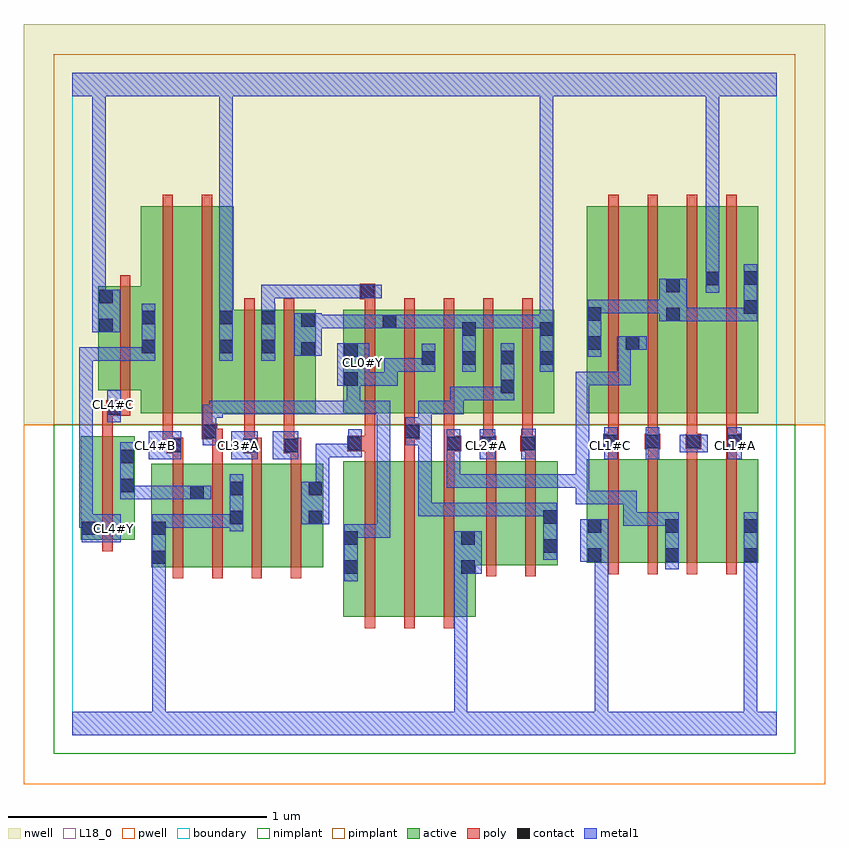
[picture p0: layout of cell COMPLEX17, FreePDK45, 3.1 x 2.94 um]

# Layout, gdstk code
import gdstk
lib = gdstk.Library(unit=1e-6, precision=1e-09)
def R(c, l, rs):  # rectangles x0, y0, x1, y1
    for r in rs: c.add(gdstk.rectangle(r[:2], r[2:], *l))
def A(c, l, x, y, w, h, nx, ny, dx, dy):  # array of equal rectangles
    R(c, l, [(x+i*dx, y+j*dy, x+i*dx+w, y+j*dy+h) for i in range(nx) for j in range(ny)])
active = (1, 0)
pwell = (2, 0)
nwell = (3, 0)
nimplant = (4, 0)
pimplant = (5, 0)
poly = (9, 0)
contact = (10, 0)
metal1 = (11, 0)
L18_0 = (18, 0)
boundary = (235, 0)

complex17 = lib.new_cell('COMPLEX17')
R(complex17, active, [(1.046,0.458,1.106,1.058), (1.046,0.458,1.226,1.058), (1.226,0.458,1.378,1.058), (1.378,0.458,1.558,1.058), (1.498,0.458,1.558,1.058), (0.304,0.65,0.364,1.05), (0.304,0.65,0.512,1.05), (0.452,0.65,0.664,1.05), (0.452,0.65,0.512,0.968), (0.604,0.65,0.788,1.05), (0.788,0.65,0.968,1.05), (0.908,0.65,0.968,1.05), (1.498,0.658,1.694,1.058), (1.694,0.658,1.874,1.058), (1.814,0.658,1.874,1.058), (1.986,0.666,2.046,1.066), (1.986,0.666,2.166,1.066), (2.166,0.666,2.346,1.066), (2.286,0.666,2.346,1.066), (2.286,0.666,2.47,1.066), (2.47,0.666,2.65,1.066), (2.59,0.666,2.65,1.066), (0.032,0.756,0.092,1.156), (0.032,0.756,0.24,1.156), (0.18,0.756,0.24,1.156), (0.604,0.756,0.664,0.984), (0.264,1.244,0.444,2.044), (0.444,1.244,0.624,2.044), (0.564,1.244,0.624,2.044), (0.564,1.244,0.788,1.644), (0.728,1.244,0.788,1.644), (0.728,1.244,0.94,1.644), (0.88,1.244,0.94,1.644), (1.046,1.244,1.106,1.644), (1.046,1.244,1.254,1.644), (1.194,1.244,1.254,1.644), (1.194,1.244,1.406,1.644), (1.346,1.244,1.406,1.644), (1.346,1.244,1.562,1.644), (1.502,1.244,1.562,1.644), (1.502,1.244,1.71,1.644), (1.65,1.244,1.71,1.644), (1.65,1.244,1.862,1.644), (1.802,1.244,1.862,1.644), (1.986,1.244,2.046,2.044), (1.986,1.244,2.194,2.044), (2.134,1.244,2.194,2.044), (2.134,1.244,2.35,2.044), (2.29,1.244,2.35,2.044), (2.29,1.244,2.502,2.044), (2.442,1.244,2.502,2.044), (2.442,1.244,2.65,2.044), (2.59,1.244,2.65,2.044), (0.1,1.334,0.16,1.734), (0.1,1.334,0.324,1.734), (0.264,1.334,0.324,1.808)])
R(complex17, pwell, [(-0.188,-0.188,2.908,1.2)])
R(complex17, nwell, [(-0.188,1.2,2.908,2.748)])
R(complex17, nimplant, [(-0.072,-0.072,2.792,1.2)])
R(complex17, pimplant, [(-0.072,1.2,2.792,2.632)])
A(complex17, poly, 1.13, 0.414, 0.04, 0.688, 3, 1, 0.152, 0)
A(complex17, poly, 0.388, 0.606, 0.04, 0.488, 4, 1, 0.152, 0)
A(complex17, poly, 2.07, 0.622, 0.04, 0.488, 4, 1, 0.152, 0)
A(complex17, poly, 2.07, 1.07, 0.04, 0.076, 4, 1, 0.152, 0)
A(complex17, poly, 2.05, 1.106, 0.06, 0.06, 3, 1, 0.16, 0)
A(complex17, poly, 1.434, 1.118, 0.04, 0.122, 3, 1, 0.152, 0)
A(complex17, poly, 2.07, 1.126, 0.04, 0.114, 4, 1, 0.152, 0)
A(complex17, poly, 1.13, 1.2, 0.04, 0.488, 5, 1, 0.152, 0)
A(complex17, poly, 2.07, 1.2, 0.04, 0.888, 4, 1, 0.152, 0)
R(complex17, poly, [(1.598,0.614,1.638,1.102), (1.75,0.614,1.79,1.102), (0.116,0.712,0.156,1.2), (0.388,1.054,0.428,1.13), (0.54,1.054,0.58,1.184), (0.692,1.054,0.732,1.13), (0.844,1.054,0.884,1.13), (1.13,1.062,1.17,1.138), (1.282,1.062,1.322,1.184), (1.434,1.062,1.474,1.138), (1.598,1.062,1.638,1.138), (1.75,1.062,1.79,1.138), (0.364,1.09,0.428,1.15), (0.66,1.09,0.732,1.15), (0.816,1.09,0.884,1.15), (1.062,1.098,1.17,1.158), (1.434,1.098,1.502,1.158), (1.578,1.098,1.638,1.158), (1.598,1.098,1.638,1.138), (1.598,1.098,1.638,1.138), (1.73,1.098,1.79,1.158), (1.75,1.098,1.79,1.138), (1.75,1.098,1.79,1.138), (2.222,1.106,2.262,1.146), (2.222,1.106,2.262,1.146), (2.526,1.106,2.586,1.166), (0.348,1.11,0.388,1.24), (0.348,1.11,0.404,1.15), (0.364,1.11,0.404,1.15), (0.664,1.11,0.704,1.15), (0.664,1.11,0.704,1.15), (0.664,1.11,0.704,1.24), (0.816,1.11,0.856,1.15), (0.816,1.11,0.856,1.15), (0.816,1.11,0.856,1.24), (1.13,1.118,1.17,1.158), (1.13,1.118,1.17,1.158), (1.13,1.118,1.17,1.24), (1.434,1.118,1.474,1.158), (1.434,1.118,1.474,1.158), (2.07,1.126,2.11,1.166), (2.07,1.126,2.11,1.166), (2.374,1.126,2.414,1.166), (2.374,1.126,2.414,1.166), (2.526,1.126,2.566,1.166), (2.526,1.126,2.566,1.166), (0.5,1.144,0.56,1.204), (0.52,1.144,0.56,1.184), (0.52,1.144,0.58,1.184), (1.282,1.144,1.322,1.184), (1.282,1.144,1.322,1.184), (1.282,1.144,1.342,1.204), (0.116,1.16,0.156,1.274), (0.5,1.164,0.54,1.24), (1.282,1.164,1.322,1.24), (0.348,1.2,0.388,2.088), (0.5,1.2,0.54,2.088), (0.664,1.2,0.704,1.688), (0.816,1.2,0.856,1.688), (0.116,1.234,0.17,1.274), (0.13,1.234,0.17,1.274), (0.13,1.234,0.224,1.294), (0.184,1.254,0.224,1.33), (0.184,1.29,0.224,1.778), (1.13,1.648,1.17,1.724), (1.11,1.684,1.17,1.744)])
A(complex17, contact, 2.054, 1.11, 0.052, 0.052, 3, 1, 0.16, 0)
R(complex17, contact, [(1.05,0.624,1.102,0.676), (1.502,0.624,1.554,0.676), (0.308,0.662,0.36,0.714), (1.99,0.67,2.042,0.722), (2.29,0.67,2.342,0.722), (2.594,0.67,2.646,0.722), (1.818,0.706,1.87,0.758), (1.05,0.736,1.102,0.788), (1.502,0.736,1.554,0.788), (0.036,0.774,0.088,0.826), (0.308,0.774,0.36,0.826), (1.99,0.782,2.042,0.834), (2.29,0.782,2.342,0.834), (2.594,0.782,2.646,0.834), (0.608,0.816,0.66,0.868), (0.912,0.816,0.964,0.868), (1.818,0.818,1.87,0.87), (0.456,0.912,0.508,0.964), (0.608,0.928,0.66,0.98), (0.912,0.928,0.964,0.98), (0.184,0.94,0.236,0.992), (0.184,1.052,0.236,1.104), (0.368,1.094,0.42,1.146), (0.664,1.094,0.716,1.146), (0.82,1.094,0.872,1.146), (1.066,1.102,1.118,1.154), (1.446,1.102,1.498,1.154), (1.582,1.102,1.634,1.154), (1.734,1.102,1.786,1.154), (2.53,1.11,2.582,1.162), (0.504,1.148,0.556,1.2), (1.286,1.148,1.338,1.2), (0.134,1.238,0.186,1.29), (1.654,1.322,1.706,1.374), (1.05,1.35,1.102,1.402), (1.35,1.432,1.402,1.484), (1.506,1.432,1.558,1.484), (1.806,1.432,1.858,1.484), (1.654,1.434,1.706,1.486), (1.05,1.462,1.102,1.514), (0.884,1.466,0.936,1.518), (0.268,1.476,0.32,1.528), (0.568,1.476,0.62,1.528), (0.732,1.476,0.784,1.528), (1.99,1.49,2.042,1.542), (2.138,1.49,2.19,1.542), (1.506,1.544,1.558,1.596), (1.806,1.544,1.858,1.596), (0.104,1.558,0.156,1.61), (1.198,1.572,1.25,1.624), (0.884,1.578,0.936,1.63), (0.268,1.588,0.32,1.64), (0.568,1.588,0.62,1.64), (0.732,1.588,0.784,1.64), (2.294,1.6,2.346,1.652), (1.99,1.602,2.042,1.654), (2.594,1.628,2.646,1.68), (0.104,1.67,0.156,1.722), (1.114,1.688,1.166,1.74), (2.294,1.712,2.346,1.764), (2.446,1.738,2.498,1.79), (2.594,1.74,2.646,1.792)])
A(complex17, metal1, 0.73, 1.688, 0.052, 0.052, 3, 1, 0.11, 0)
R(complex17, metal1, [(0,0,2.72,0.092), (0.308,0.04,0.36,0.092), (0.308,0.04,0.36,0.092), (0.308,0.04,0.36,0.092), (0.308,0.04,0.36,0.092), (0.308,0.04,0.36,0.092), (0.308,0.04,0.36,0.092), (0.308,0.04,0.36,0.092), (0.308,0.04,0.36,0.092), (0.308,0.04,0.36,0.092), (0.308,0.04,0.36,0.092), (0.308,0.04,0.36,0.092), (0.308,0.04,0.36,0.092), (0.308,0.04,0.36,0.686), (1.474,0.04,1.526,0.092), (1.474,0.04,1.526,0.092), (1.474,0.04,1.526,0.676), (2.018,0.04,2.07,0.092), (2.018,0.04,2.07,0.092), (2.018,0.04,2.07,0.722), (2.594,0.04,2.646,0.092), (2.594,0.04,2.646,0.092), (2.594,0.04,2.646,0.092), (2.594,0.04,2.646,0.092), (2.594,0.04,2.646,0.092), (2.594,0.04,2.646,0.092), (2.594,0.04,2.646,0.694), (1.05,0.596,1.102,0.816), (1.474,0.624,1.526,0.676), (1.474,0.624,1.526,0.676), (1.474,0.624,1.526,0.676), (1.474,0.624,1.526,0.676), (1.474,0.624,1.526,0.676), (1.474,0.624,1.526,0.676), (1.474,0.624,1.582,0.788), (0.308,0.634,0.36,0.854), (2.29,0.642,2.342,0.862), (2.594,0.642,2.646,0.694), (2.594,0.642,2.646,0.694), (2.594,0.642,2.646,0.694), (2.594,0.642,2.646,0.694), (2.594,0.642,2.646,0.694), (2.594,0.642,2.646,0.694), (2.594,0.642,2.646,0.862), (1.962,0.67,2.07,0.834), (2.018,0.67,2.07,0.722), (2.018,0.67,2.07,0.722), (2.018,0.67,2.07,0.722), (2.018,0.67,2.07,0.722), (2.018,0.67,2.07,0.722), (2.018,0.67,2.07,0.722), (2.018,0.67,2.07,0.722), (2.018,0.67,2.07,0.722), (2.018,0.67,2.07,0.722), (2.018,0.67,2.07,0.722), (1.818,0.678,1.87,0.898), (0.036,0.746,0.186,0.854), (1.05,0.764,1.112,0.816), (1.06,0.764,1.112,0.816), (1.06,0.764,1.228,0.816), (1.176,0.764,1.228,0.816), (1.176,0.764,1.228,0.816), (1.176,0.764,1.228,0.816), (1.176,0.764,1.228,1.292), (0.608,0.788,0.66,1.008), (0.026,0.802,0.078,0.854), (0.026,0.802,0.078,0.854), (0.026,0.802,0.078,0.854), (0.026,0.802,0.078,0.854), (0.026,0.802,0.088,0.854), (0.026,0.802,0.078,0.872), (0.036,0.802,0.088,0.854), (0.308,0.802,0.36,0.854), (0.308,0.802,0.36,0.854), (0.308,0.802,0.47,0.854), (0.418,0.802,0.47,0.854), (0.418,0.802,0.47,0.854), (0.418,0.802,0.47,0.854), (0.418,0.802,0.66,0.854), (2.128,0.81,2.342,0.862), (2.128,0.81,2.18,0.944), (0.884,0.816,0.992,0.98), (0.026,0.82,0.078,0.872), (0.026,0.82,0.078,0.872), (0.026,0.82,0.078,0.872), (0.026,0.82,0.078,1.5), (1.336,0.846,1.388,0.898), (1.336,0.846,1.388,0.898), (1.336,0.846,1.388,0.898), (1.336,0.846,1.516,0.898), (1.336,0.846,1.388,1.228), (1.464,0.846,1.516,0.898), (1.464,0.846,1.516,0.898), (1.464,0.846,1.516,0.898), (1.464,0.846,1.676,0.898), (1.624,0.846,1.676,0.898), (1.624,0.846,1.676,0.898), (1.624,0.846,1.676,0.898), (1.624,0.846,1.87,0.898), (1.818,0.846,1.87,0.898), (1.818,0.846,1.87,0.898), (1.944,0.892,1.996,0.944), (1.944,0.892,2.038,0.944), (1.944,0.892,1.996,1.008), (1.986,0.892,2.038,0.944), (1.986,0.892,2.18,0.944), (2.128,0.892,2.18,0.944), (2.128,0.892,2.18,0.944), (0.184,0.912,0.236,1.132), (0.184,0.912,0.36,0.964), (0.308,0.912,0.36,0.964), (0.308,0.912,0.36,0.964), (0.308,0.912,0.36,0.964), (0.308,0.912,0.48,0.964), (0.428,0.912,0.536,0.964), (0.94,0.928,0.992,1.126), (1.446,0.956,1.676,1.008), (1.446,0.956,1.498,1.126), (1.624,0.956,1.676,1.008), (1.624,0.956,1.676,1.008), (1.624,0.956,1.676,1.008), (1.624,0.956,1.786,1.008), (1.734,0.956,1.786,1.008), (1.734,0.956,1.786,1.008), (1.734,0.956,1.786,1.008), (1.734,0.956,1.996,1.008), (1.944,0.956,1.996,1.008), (1.944,0.956,1.996,1.404), (0.294,1.066,0.42,1.174), (0.614,1.066,0.716,1.174), (0.774,1.066,0.872,1.174), (1.574,1.066,1.634,1.182), (1.734,1.066,1.79,1.184), (2.054,1.066,2.106,1.19), (2.214,1.066,2.266,1.19), (2.53,1.066,2.586,1.19), (0.94,1.074,0.992,1.126), (0.94,1.074,1.002,1.126), (0.95,1.074,1.002,1.126), (0.95,1.074,1.118,1.126), (1.066,1.074,1.118,1.182), (1.446,1.074,1.498,1.126), (1.446,1.074,1.498,1.182), (2.346,1.094,2.454,1.162), (0.504,1.12,0.556,1.278), (1.286,1.12,1.338,1.228), (1.286,1.176,1.388,1.228), (1.336,1.176,1.388,1.292), (0.134,1.21,0.186,1.334), (0.504,1.226,0.58,1.278), (0.528,1.226,0.58,1.292), (0.528,1.24,0.716,1.292), (0.664,1.24,0.716,1.292), (0.664,1.24,0.716,1.292), (0.664,1.24,0.716,1.292), (0.664,1.24,0.892,1.292), (0.84,1.24,0.892,1.292), (0.84,1.24,0.892,1.292), (0.84,1.24,0.892,1.292), (0.84,1.24,1.112,1.292), (1.06,1.24,1.112,1.292), (1.06,1.24,1.112,1.292), (1.06,1.24,1.112,1.292), (1.06,1.24,1.228,1.292), (1.06,1.24,1.112,1.402), (1.176,1.24,1.228,1.292), (1.336,1.24,1.512,1.292), (1.46,1.24,1.512,1.292), (1.46,1.24,1.512,1.292), (1.46,1.24,1.512,1.292), (1.46,1.24,1.512,1.346), (1.46,1.294,1.512,1.346), (1.46,1.294,1.676,1.346), (1.624,1.294,1.676,1.346), (1.624,1.294,1.706,1.346), (1.654,1.294,1.706,1.514), (1.022,1.35,1.146,1.514), (1.06,1.35,1.112,1.402), (1.06,1.35,1.112,1.402), (1.06,1.35,1.112,1.402), (1.06,1.35,1.112,1.402), (1.06,1.35,1.256,1.402), (1.204,1.35,1.256,1.402), (1.204,1.35,1.256,1.402), (1.204,1.35,1.256,1.456), (1.944,1.352,1.996,1.404), (1.944,1.352,1.996,1.404), (1.944,1.352,1.996,1.404), (1.944,1.352,2.156,1.404), (2.104,1.352,2.156,1.404), (2.104,1.352,2.156,1.542), (1.204,1.404,1.402,1.456), (1.35,1.404,1.402,1.512), (1.506,1.404,1.558,1.624), (1.806,1.404,1.858,1.624), (0.026,1.448,0.078,1.5), (0.026,1.448,0.078,1.5), (0.026,1.448,0.078,1.5), (0.026,1.448,0.32,1.5), (0.268,1.448,0.32,1.668), (0.568,1.448,0.62,1.668), (0.73,1.448,0.784,1.668), (1.99,1.462,2.042,1.682), (0.856,1.466,0.964,1.63), (2.104,1.49,2.218,1.542), (0.076,1.558,0.184,1.722), (0.912,1.572,1.064,1.624), (1.012,1.572,1.064,1.624), (1.012,1.572,1.112,1.624), (1.06,1.572,1.112,1.624), (1.06,1.572,1.222,1.624), (1.17,1.572,1.278,1.624), (1.226,1.572,1.388,1.624), (1.336,1.572,1.388,1.624), (1.336,1.572,1.388,1.624), (1.336,1.572,1.388,1.624), (1.336,1.572,1.516,1.624), (1.464,1.572,1.516,1.624), (1.464,1.572,1.558,1.624), (1.506,1.572,1.668,1.624), (1.616,1.572,1.668,1.624), (1.616,1.572,1.668,1.624), (1.616,1.572,1.668,1.624), (1.616,1.572,1.858,1.624), (1.806,1.572,1.858,1.624), (1.806,1.572,1.858,1.624), (1.806,1.572,1.858,1.624), (1.806,1.572,1.858,1.624), (1.806,1.572,1.858,1.624), (1.806,1.572,1.858,1.624), (1.806,1.572,1.858,1.624), (1.806,1.572,1.858,1.624), (1.806,1.572,1.858,2.52), (2.266,1.6,2.374,1.764), (2.322,1.6,2.374,1.652), (2.322,1.6,2.374,1.652), (2.322,1.6,2.536,1.652), (2.484,1.6,2.536,1.652), (2.484,1.6,2.646,1.652), (2.594,1.6,2.646,1.652), (2.594,1.6,2.646,1.652), (2.594,1.6,2.646,1.82), (0.568,1.616,0.62,1.668), (0.568,1.616,0.62,1.668), (0.568,1.616,0.62,2.52), (0.73,1.616,0.782,1.74), (1.99,1.63,2.042,1.682), (1.99,1.63,2.042,1.682), (1.99,1.63,2.152,1.682), (2.1,1.63,2.152,1.682), (2.1,1.63,2.152,1.682), (2.1,1.63,2.152,1.682), (2.1,1.63,2.318,1.682), (0.076,1.67,0.128,1.722), (0.076,1.67,0.128,1.722), (0.076,1.67,0.128,1.722), (0.076,1.67,0.128,1.722), (0.076,1.67,0.128,1.722), (0.076,1.67,0.128,1.722), (0.076,1.67,0.128,2.52), (0.73,1.688,0.892,1.74), (0.84,1.688,1.002,1.74), (0.95,1.688,1.002,1.74), (0.95,1.688,1.002,1.74), (0.95,1.688,1.138,1.74), (1.086,1.688,1.194,1.74), (2.446,1.71,2.498,1.818), (2.446,1.766,2.498,2.52), (0,2.468,2.72,2.56), (0.076,2.468,0.128,2.52), (0.076,2.468,0.128,2.52), (0.076,2.468,0.128,2.52), (0.076,2.468,0.128,2.52), (0.076,2.468,0.128,2.52), (0.076,2.468,0.128,2.52), (0.076,2.468,0.128,2.52), (0.076,2.468,0.128,2.52), (0.076,2.468,0.128,2.52), (0.076,2.468,0.128,2.52), (0.568,2.468,0.62,2.52), (0.568,2.468,0.62,2.52), (0.568,2.468,0.62,2.52), (0.568,2.468,0.62,2.52), (0.568,2.468,0.62,2.52), (0.568,2.468,0.62,2.52), (1.806,2.468,1.858,2.52), (1.806,2.468,1.858,2.52), (1.806,2.468,1.858,2.52), (1.806,2.468,1.858,2.52), (1.806,2.468,1.858,2.52), (1.806,2.468,1.858,2.52), (1.806,2.468,1.858,2.52), (1.806,2.468,1.858,2.52), (1.806,2.468,1.858,2.52), (1.806,2.468,1.858,2.52), (2.446,2.468,2.498,2.52), (2.446,2.468,2.498,2.52), (2.446,2.468,2.498,2.52), (2.446,2.468,2.498,2.52), (2.446,2.468,2.498,2.52), (2.446,2.468,2.498,2.52), (2.446,2.468,2.498,2.52), (2.446,2.468,2.498,2.52)])
A(complex17, L18_0, 2.054, 1.094, 0.052, 0.052, 4, 1, 0.16, 0)
R(complex17, L18_0, [(0,0,2.72,0.092), (0.308,0.04,0.36,0.092), (0.308,0.04,0.36,0.092), (0.308,0.04,0.36,0.092), (0.308,0.04,0.36,0.092), (0.308,0.04,0.36,0.092), (0.308,0.04,0.36,0.092), (0.308,0.04,0.36,0.092), (0.308,0.04,0.36,0.092), (0.308,0.04,0.36,0.092), (0.308,0.04,0.36,0.092), (0.308,0.04,0.36,0.092), (0.308,0.04,0.36,0.092), (0.308,0.04,0.36,0.686), (1.474,0.04,1.526,0.092), (1.474,0.04,1.526,0.092), (1.474,0.04,1.526,0.676), (2.018,0.04,2.07,0.092), (2.018,0.04,2.07,0.092), (2.018,0.04,2.07,0.722), (2.594,0.04,2.646,0.092), (2.594,0.04,2.646,0.092), (2.594,0.04,2.646,0.092), (2.594,0.04,2.646,0.092), (2.594,0.04,2.646,0.092), (2.594,0.04,2.646,0.092), (2.594,0.04,2.646,0.694), (1.05,0.596,1.102,0.816), (1.474,0.624,1.526,0.676), (1.474,0.624,1.526,0.676), (1.474,0.624,1.526,0.676), (1.474,0.624,1.526,0.676), (1.474,0.624,1.526,0.676), (1.474,0.624,1.526,0.676), (1.474,0.624,1.582,0.788), (0.308,0.634,0.36,0.854), (2.594,0.642,2.646,0.694), (2.594,0.642,2.646,0.694), (2.594,0.642,2.646,0.694), (2.594,0.642,2.646,0.694), (2.594,0.642,2.646,0.694), (2.594,0.642,2.646,0.694), (2.594,0.642,2.646,0.862), (1.962,0.67,2.07,0.834), (2.018,0.67,2.07,0.722), (2.018,0.67,2.07,0.722), (2.018,0.67,2.07,0.722), (2.018,0.67,2.07,0.722), (2.018,0.67,2.07,0.722), (2.018,0.67,2.07,0.722), (2.018,0.67,2.07,0.722), (2.018,0.67,2.07,0.722), (2.018,0.67,2.07,0.722), (2.018,0.67,2.07,0.722), (0.036,0.746,0.186,0.854), (1.05,0.764,1.112,0.816), (1.06,0.764,1.112,0.816), (1.06,0.764,1.228,0.816), (1.176,0.764,1.228,0.816), (1.176,0.764,1.228,0.816), (1.176,0.764,1.228,0.816), (1.176,0.764,1.228,1.292), (0.134,0.774,0.186,0.826), (0.608,0.788,0.66,1.008), (0.026,0.802,0.088,0.854), (0.026,0.802,0.078,0.854), (0.026,0.802,0.078,0.854), (0.026,0.802,0.078,0.854), (0.026,0.802,0.078,0.854), (0.026,0.802,0.078,0.872), (0.036,0.802,0.088,0.854), (0.308,0.802,0.36,0.854), (0.308,0.802,0.36,0.854), (0.308,0.802,0.47,0.854), (0.418,0.802,0.47,0.854), (0.418,0.802,0.47,0.854), (0.418,0.802,0.47,0.854), (0.418,0.802,0.66,0.854), (0.026,0.82,0.078,0.872), (0.026,0.82,0.078,0.872), (0.026,0.82,0.078,0.872), (0.026,0.82,0.078,1.5), (0.294,1.066,0.42,1.174), (0.614,1.066,0.716,1.174), (0.774,1.066,0.872,1.174), (1.574,1.066,1.634,1.182), (1.734,1.066,1.79,1.184), (2.054,1.066,2.106,1.19), (2.214,1.066,2.266,1.19), (2.53,1.066,2.586,1.19), (0.294,1.094,0.346,1.146), (0.614,1.094,0.666,1.146), (0.774,1.094,0.826,1.146), (1.574,1.094,1.626,1.146), (1.734,1.094,1.786,1.146), (2.346,1.094,2.454,1.162), (0.504,1.12,0.556,1.278), (0.134,1.21,0.186,1.334), (0.504,1.226,0.58,1.278), (0.528,1.226,0.58,1.292), (0.528,1.24,0.716,1.292), (0.664,1.24,0.716,1.292), (0.664,1.24,0.716,1.292), (0.664,1.24,0.716,1.292), (0.664,1.24,0.892,1.292), (0.84,1.24,0.892,1.292), (0.84,1.24,0.892,1.292), (0.84,1.24,0.892,1.292), (0.84,1.24,1.112,1.292), (1.06,1.24,1.112,1.292), (1.06,1.24,1.112,1.292), (1.06,1.24,1.112,1.292), (1.06,1.24,1.112,1.402), (1.06,1.24,1.228,1.292), (1.176,1.24,1.228,1.292), (0.134,1.254,0.186,1.306), (1.022,1.35,1.146,1.514), (1.06,1.35,1.112,1.402), (1.06,1.35,1.112,1.402), (1.06,1.35,1.112,1.402), (1.06,1.35,1.112,1.402), (1.06,1.35,1.256,1.402), (1.204,1.35,1.256,1.402), (1.204,1.35,1.256,1.402), (1.204,1.35,1.256,1.456), (1.204,1.404,1.402,1.456), (1.35,1.404,1.402,1.512), (1.506,1.404,1.558,1.624), (1.806,1.404,1.858,1.624), (1.094,1.414,1.146,1.466), (0.026,1.448,0.078,1.5), (0.026,1.448,0.078,1.5), (0.026,1.448,0.078,1.5), (0.026,1.448,0.32,1.5), (0.268,1.448,0.32,1.668), (0.568,1.448,0.62,1.668), (0.856,1.466,0.964,1.63), (0.076,1.558,0.184,1.722), (0.912,1.572,1.064,1.624), (1.012,1.572,1.064,1.624), (1.012,1.572,1.112,1.624), (1.06,1.572,1.112,1.624), (1.06,1.572,1.222,1.624), (1.17,1.572,1.278,1.624), (1.226,1.572,1.388,1.624), (1.336,1.572,1.388,1.624), (1.336,1.572,1.388,1.624), (1.336,1.572,1.388,1.624), (1.336,1.572,1.516,1.624), (1.464,1.572,1.516,1.624), (1.464,1.572,1.558,1.624), (1.506,1.572,1.668,1.624), (1.616,1.572,1.668,1.624), (1.616,1.572,1.668,1.624), (1.616,1.572,1.668,1.624), (1.616,1.572,1.858,1.624), (1.806,1.572,1.858,1.624), (1.806,1.572,1.858,1.624), (1.806,1.572,1.858,1.624), (1.806,1.572,1.858,1.624), (1.806,1.572,1.858,1.624), (1.806,1.572,1.858,1.624), (1.806,1.572,1.858,1.624), (1.806,1.572,1.858,1.624), (1.806,1.572,1.858,2.52), (0.568,1.616,0.62,1.668), (0.568,1.616,0.62,1.668), (0.568,1.616,0.62,2.52), (0.076,1.67,0.128,1.722), (0.076,1.67,0.128,1.722), (0.076,1.67,0.128,1.722), (0.076,1.67,0.128,1.722), (0.076,1.67,0.128,1.722), (0.076,1.67,0.128,1.722), (0.076,1.67,0.128,2.52), (2.446,1.71,2.498,1.818), (2.446,1.766,2.498,2.52), (0,2.468,2.72,2.56), (0.076,2.468,0.128,2.52), (0.076,2.468,0.128,2.52), (0.076,2.468,0.128,2.52), (0.076,2.468,0.128,2.52), (0.076,2.468,0.128,2.52), (0.076,2.468,0.128,2.52), (0.076,2.468,0.128,2.52), (0.076,2.468,0.128,2.52), (0.076,2.468,0.128,2.52), (0.076,2.468,0.128,2.52), (0.568,2.468,0.62,2.52), (0.568,2.468,0.62,2.52), (0.568,2.468,0.62,2.52), (0.568,2.468,0.62,2.52), (0.568,2.468,0.62,2.52), (0.568,2.468,0.62,2.52), (1.806,2.468,1.858,2.52), (1.806,2.468,1.858,2.52), (1.806,2.468,1.858,2.52), (1.806,2.468,1.858,2.52), (1.806,2.468,1.858,2.52), (1.806,2.468,1.858,2.52), (1.806,2.468,1.858,2.52), (1.806,2.468,1.858,2.52), (1.806,2.468,1.858,2.52), (1.806,2.468,1.858,2.52), (2.446,2.468,2.498,2.52), (2.446,2.468,2.498,2.52), (2.446,2.468,2.498,2.52), (2.446,2.468,2.498,2.52), (2.446,2.468,2.498,2.52), (2.446,2.468,2.498,2.52), (2.446,2.468,2.498,2.52), (2.446,2.468,2.498,2.52)])
R(complex17, boundary, [(0,0,2.72,2.56)])
complex17.add(gdstk.Label('CL0#Y', (1.12,1.44), layer=11, texttype=0))
complex17.add(gdstk.Label('CL1#A', (2.56,1.12), layer=11, texttype=0))
complex17.add(gdstk.Label('CL1#B', (2.4,1.12), layer=11, texttype=0))
complex17.add(gdstk.Label('CL1#C', (2.08,1.12), layer=11, texttype=0))
complex17.add(gdstk.Label('CL1#D', (2.24,1.12), layer=11, texttype=0))
complex17.add(gdstk.Label('CL2#A', (1.6,1.12), layer=11, texttype=0))
complex17.add(gdstk.Label('CL2#B', (1.76,1.12), layer=11, texttype=0))
complex17.add(gdstk.Label('CL3#A', (0.64,1.12), layer=11, texttype=0))
complex17.add(gdstk.Label('CL3#B', (0.8,1.12), layer=11, texttype=0))
complex17.add(gdstk.Label('CL4#B', (0.32,1.12), layer=11, texttype=0))
complex17.add(gdstk.Label('CL4#C', (0.16,1.28), layer=11, texttype=0))
complex17.add(gdstk.Label('CL4#Y', (0.16,0.8), layer=11, texttype=0))

lib.write_gds('COMPLEX17.gds')
